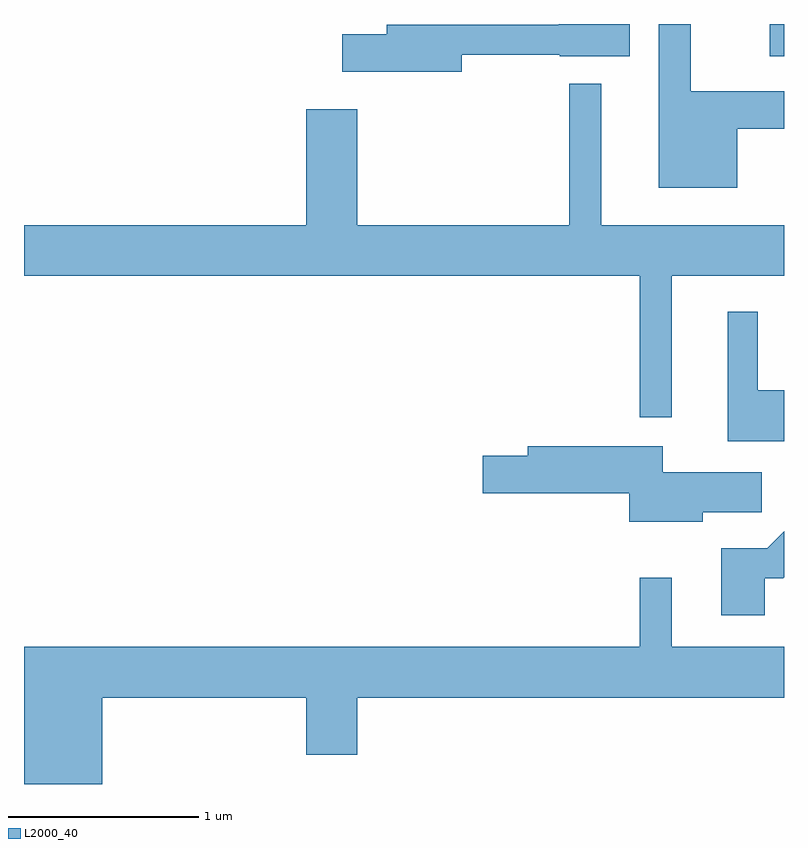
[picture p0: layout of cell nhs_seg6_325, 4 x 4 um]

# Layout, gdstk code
import gdstk
lib = gdstk.Library(unit=1e-6, precision=1e-09)
def R(c, l, rs):  # rectangles x0, y0, x1, y1
    for r in rs: c.add(gdstk.rectangle(r[:2], r[2:], *l))
def P(c, l, *ps):  # polygons
    for p in ps: c.add(gdstk.Polygon(p, *l))
L2000_40 = (2000, 40)

nhs_seg6_325 = lib.new_cell('nhs_seg6_325')
R(nhs_seg6_325, L2000_40, [(197.536,1639.991,197.611,1640.162)])
P(nhs_seg6_325, L2000_40, [(197.364,1639.611),(197.611,1639.611),(197.611,1639.809),(197.119,1639.809),(197.119,1640.162),(196.951,1640.162),(196.951,1639.301),(197.364,1639.301)],
  [(195.914,1640.001),(196.43,1640.001),(196.43,1639.991),(196.799,1639.991),(196.799,1640.162),(196.426,1640.162),(196.426,1640.159),(195.521,1640.159),(195.521,1640.109),(195.286,1640.109),(195.286,1639.911),(195.914,1639.911)],
  [(197.019,1638.836),(197.611,1638.836),(197.611,1639.104),(196.649,1639.104),(196.649,1639.848),(196.481,1639.848),(196.481,1639.104),(195.364,1639.104),(195.364,1639.714),(195.096,1639.714),(195.096,1639.104),(193.611,1639.104),(193.611,1638.836),(196.851,1638.836),(196.851,1638.093),(197.019,1638.093)],
  [(197.611,1638.234),(197.474,1638.234),(197.474,1638.648),(197.316,1638.648),(197.316,1637.966),(197.611,1637.966)],
  [(197.184,1637.591),(197.494,1637.591),(197.494,1637.804),(196.974,1637.804),(196.974,1637.939),(196.261,1637.939),(196.261,1637.889),(196.026,1637.889),(196.026,1637.691),(196.796,1637.691),(196.796,1637.541),(197.184,1637.541)],
  [(197.509,1637.246),(197.607,1637.246),(197.611,1637.25),(197.611,1637.491),(197.524,1637.404),(197.281,1637.404),(197.281,1637.051),(197.509,1637.051)],
  [(194.024,1636.616),(195.096,1636.616),(195.096,1636.316),(195.364,1636.316),(195.364,1636.616),(197.611,1636.616),(197.611,1636.884),(197.019,1636.884),(197.019,1637.248),(196.851,1637.248),(196.851,1636.884),(193.611,1636.884),(193.611,1636.162),(194.024,1636.162)])

lib.write_gds('nhs_seg6_325.gds')
